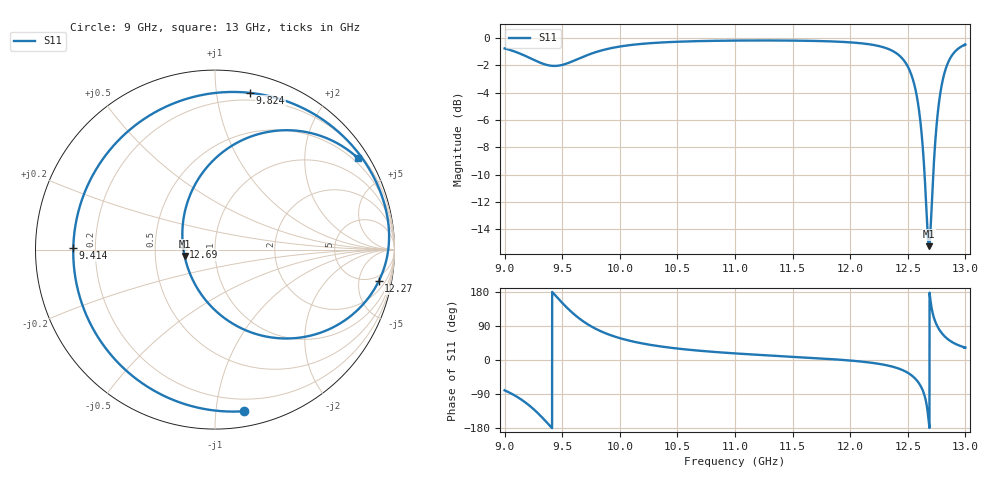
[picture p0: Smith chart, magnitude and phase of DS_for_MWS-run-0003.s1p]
! TOUCHSTONE file generated by CST DESIGN STUDIO
! Date and time: Tue Feb  4 18:43:49 2025
! Project name: C:\Work\MatlabApps\UnitCellOptimizationMatlab\CST\unitcell.cst
! Tree item: Tasks\Sweep1\SPara1\S-Parameters
! Header version: 2024
! Port assignment regex: !\s*Touchstone port\s*([0-9]+)\s*=\s*(CST MWS port|CST DES external port|CST DES block port)\s*(.+)\s* \(\"(.*)\"\)(\s*mode\s*([0-9]+))?.*
! Touchstone port assignment:
! Touchstone port 1 = CST DES external port 1 ("")
# GHz S MA R 50
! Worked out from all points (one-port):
!   4001 points, 9 GHz to 13 GHz, reference 50 ohm
!   lowest |S11| = -15.2 dB at 12.68 GHz (marker M1), VSWR 1.42, Z = 35.4 - j2.64 ohm
!   |S11| at or under -10 dB: 12.65 GHz to 12.72 GHz (74.92 MHz wide, 0.591 % of centre)
!   S11 on the Smith chart (normalised r, x): 9 GHz: 0.11, -1.19; 9.414 GHz: 0.12, +0.01; 9.824 GHz: 0.14, +1.24; 12.27 GHz: 3.51, -9.06; 12.69 GHz: 0.70, +0.02; 13 GHz: 0.35, +3.37
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9  0.9146 -80.0
9.119  0.8804 -99.2
9.216  0.8449 -120.5
9.327  0.8054 -151.9
9.414  0.7896 179.4
9.5  0.7959 150.8
9.574  0.8155 128.6
9.647  0.8404 109.9
9.824  0.8948 77.4
10  0.9289 57.7
10.216  0.952 42.5
10.5  0.9671 30.2
11  0.9767 17.4
11.5  0.9765 8.5
12  0.9622 -1.4
12.266  0.9289 -11.0
12.404  0.8762 -20.8
12.5  0.7849 -33.7
12.554  0.6811 -46.1
12.607  0.5047 -66.3
12.644  0.3255 -92.3
12.684  0.1733 -168.0
12.69  0.1788 174.9
12.717  0.2953 122.4
12.747  0.4643 95.2
12.798  0.6839 69.8
12.888  0.8678 46.7
13  0.9448 32.8
